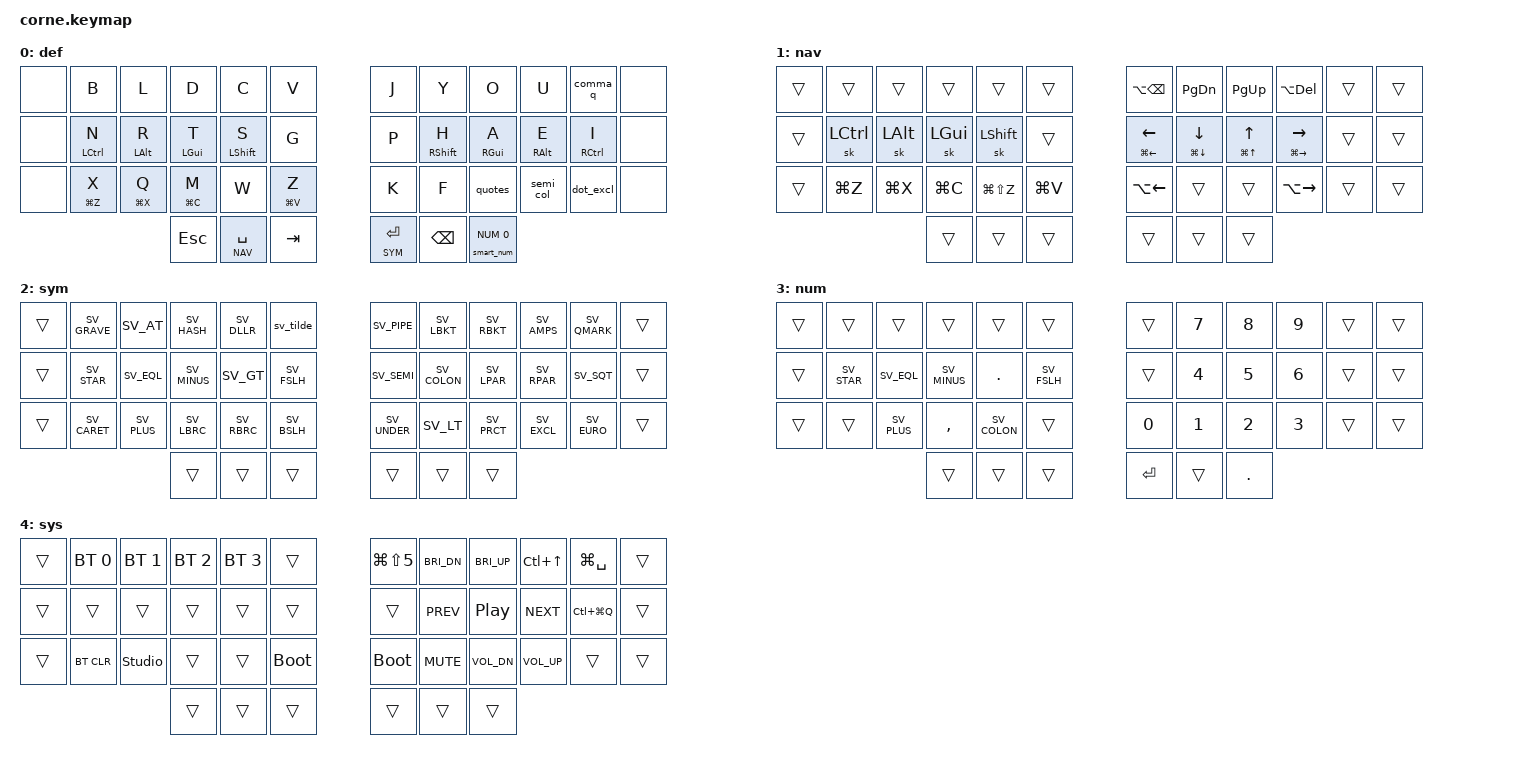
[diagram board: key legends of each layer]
#include <behaviors.dtsi>
#include <behaviors/num_word.dtsi> // requires auto-layer module
#include <dt-bindings/zmk/keys.h>
#include <dt-bindings/zmk/bt.h>

#include "zmk-helpers/helper.h"
#include "zmk-helpers/key-labels/42.h"
#include "keys_sv_mac.h"  // OS input source: macOS "Swedish - Pro"

// To flash new firmware:
// 1. push to GH action
// 2. download firmware and unzip
// 3. plug in one keyboard half at a time
// 4. Put it in bootloader mode (double click reset-button)
// 5. drag firmware to attached keyboard-"drive"
// 6. In ZMK Studio: "Restore stock settings", otherwise saved Studio edits override this file

#define DEF 0  // layer shortcuts, must match order in which they are defined below
#define NAV 1
#define SYM 2
#define NUM 3
#define SYS 4

#define XXX &none
#define ___ &trans

/* Global settings */

#define QUICK_TAP_MS 175

&sk {  // sticky-key config
    release-after-ms = <900>;  // release after 0.9s
    quick-release;             // no double capitalization when rolling keys
};

&sl {  // sticky-layer config
    ignore-modifiers;          // allow chording sticky mods & layers
};

&lt {  // layer-tap config
    flavor = "balanced";
    tapping-term-ms = <200>;
    quick-tap-ms = <QUICK_TAP_MS>;
};

&caps_word {  // keep caps-word going through Swedish _ and -
    continue-list = <SV_UNDER SV_MINUS BSPC DEL>;
};

&num_word {  // Swedish codes; = / ( ) are shifted number keys and continue anyway
    continue-list = <BSPC DEL DOT COMMA SV_PLUS SV_MINUS SV_STAR>;
};

/* Homerow mods */

#define KEYS_L LT0 LT1 LT2 LT3 LT4 LM0 LM1 LM2 LM3 LM4 LB0 LB1 LB2 LB3 LB4  // left hand
#define KEYS_R RT0 RT1 RT2 RT3 RT4 RM0 RM1 RM2 RM3 RM4 RB0 RB1 RB2 RB3 RB4  // right hand
#define THUMBS LH2 LH1 LH0 RH0 RH1 RH2                                      // thumbs

#define MAKE_HRM(NAME, HOLD, TAP, TRIGGER_POS) \
    ZMK_HOLD_TAP(NAME, \
        flavor = "balanced"; \
        tapping-term-ms = <280>; \
        quick-tap-ms = <QUICK_TAP_MS>; \
        require-prior-idle-ms = <150>; \
        bindings = <HOLD>, <TAP>; \
        hold-trigger-key-positions = <TRIGGER_POS>; \
        hold-trigger-on-release; \
    )
MAKE_HRM(hml, &kp, &kp, KEYS_R THUMBS)  // left-hand HRMs
MAKE_HRM(hmr, &kp, &kp, KEYS_L THUMBS)  // right-hand HRMs

/* Nav cluster (macOS) */

// long-tap action on hold, short-tap action on all interrupts
&mt {
    flavor = "tap-preferred";
    tapping-term-ms = <220>;
    quick-tap-ms = <220>;
    hold-trigger-key-positions = <0>;
};

#define NAV_LEFT  &mt LG(LEFT)  LEFT   // tap: left  | long-tap: beginning of line
#define NAV_RIGHT &mt LG(RIGHT) RIGHT  // tap: right | long-tap: end       of line
#define NAV_UP    &mt LG(UP)    UP     // tap: up    | long-tap: beginning of document
#define NAV_DOWN  &mt LG(DOWN)  DOWN   // tap: down  | long-tap: end       of document
#define WORD_L    &kp LA(LEFT)         // previous word
#define WORD_R    &kp LA(RIGHT)        // next word
#define DEL_WORD  &kp LA(BSPC)         // delete word backward
#define DEL_WORDF &kp LA(DEL)          // delete word forward

/* Clipboard (macOS) */

#define UNDO  &kp LG(Z)
#define CUT   &kp LG(X)
#define COPY  &kp LG(C)
#define PASTE &kp LG(V)
#define REDO  &kp LG(LS(Z))

/* Num-word */

// tap: num-word | double-tap: sticky num-layer | hold: num-layer
#define SMART_NUM &smart_num NUM 0
ZMK_HOLD_TAP(smart_num,
    flavor = "balanced";
    tapping-term-ms = <200>;
    quick-tap-ms = <QUICK_TAP_MS>;
    bindings = <&mo>, <&num_dance>;
)
ZMK_TAP_DANCE(num_dance,
    tapping-term-ms = <200>;
    bindings = <&num_word NUM>, <&sl NUM>;  // reverse this for sticky-num on single tap
)

/* Punctuation with custom shift */

#define SIMPLE_MORPH(NAME, MOD, BINDING1, BINDING2) \
    ZMK_MOD_MORPH(NAME, \
        mods = <(MOD_L ## MOD|MOD_R ## MOD)>; \
        bindings = <BINDING1>, <BINDING2>; \
    )

SIMPLE_MORPH(comma_q,   SFT, &kp COMMA,   &kp SV_QMARK)  // ,  shift: ?
SIMPLE_MORPH(dot_excl,  SFT, &kp DOT,     &kp SV_EXCL)   // .  shift: !
SIMPLE_MORPH(semi_col,  SFT, &kp SV_SEMI, &kp SV_COLON)  // ;  shift: :
SIMPLE_MORPH(quotes,    SFT, &kp SV_SQT,  &kp SV_DQT)    // '  shift: "

// ~ is a dead key on Swedish - Pro, so send it followed by space
ZMK_MACRO(sv_tilde,
    wait-ms = <0>;
    tap-ms = <10>;
    bindings = <&macro_tap &kp SV_TILDE_DEAD &kp SPACE>;
)

/* macOS function-row actions */

#define MISSION   &kp LC(UP)          // Mission Control
#define SPOTLIGHT &kp LG(SPACE)
#define SCRNSHOT  &kp LG(LS(N5))      // screenshot / recording tool
#define LOCK      &kp LC(LG(Q))       // lock screen

/* Combos: å ä ö (vertical pairs, right hand) and caps-word */

ZMK_COMBO(ao,       &kp SV_AO,  RT2 RM2, DEF)  // o + a       -> å
ZMK_COMBO(ae,       &kp SV_AE,  RM2 RB2, DEF)  // a + '       -> ä
ZMK_COMBO(oe,       &kp SV_OE,  RM3 RB3, DEF)  // e + ;       -> ö
ZMK_COMBO(capsword, &caps_word, LM0 RM0, DEF)  // g + p       -> caps word

/* Holding Nav (Space) + Sym (Enter) together opens the system layer */

ZMK_CONDITIONAL_LAYER(sys, NAV SYM, SYS)

/* Layers - Gallium */

ZMK_LAYER(def,
// ╭─────────────┬─────────────┬─────────────┬─────────────┬─────────────┬─────────────╮   ╭─────────────┬─────────────┬─────────────┬─────────────┬─────────────┬─────────────╮
         XXX          &kp B         &kp L         &kp D         &kp C         &kp V             &kp J         &kp Y         &kp O         &kp U        &comma_q         XXX
// ├─────────────┼─────────────┼─────────────┼─────────────┼─────────────┼─────────────┤   ├─────────────┼─────────────┼─────────────┼─────────────┼─────────────┼─────────────┤
         XXX      &hml LCTRL N   &hml LALT R   &hml LGUI T   &hml LSHFT S     &kp G             &kp P     &hmr RSHFT H   &hmr RGUI A   &hmr RALT E   &hmr RCTRL I       XXX
// ├─────────────┼─────────────┼─────────────┼─────────────┼─────────────┼─────────────┤   ├─────────────┼─────────────┼─────────────┼─────────────┼─────────────┼─────────────┤
         XXX       &mt LG(Z) X   &mt LG(X) Q   &mt LG(C) M      &kp W      &mt LG(V) Z          &kp K         &kp F        &quotes      &semi_col     &dot_excl        XXX
// ╰─────────────┼─────────────┼─────────────┼─────────────┼─────────────┤─────────────┤   ├─────────────┼─────────────┼─────────────┴─────────────┴─────────────┴─────────────╯
                                                &kp ESC     &lt NAV SPACE    &kp TAB         &lt SYM RET     &kp BSPC      SMART_NUM
//                                           ╰─────────────┴──── ────────┴─────────────╯   ╰─────────────┴─────────────┴─────────────╯
)

ZMK_LAYER(nav,
// ╭─────────────┬─────────────┬─────────────┬─────────────┬─────────────┬─────────────╮   ╭─────────────┬─────────────┬─────────────┬─────────────┬─────────────┬─────────────╮
        ___           ___           ___           ___           ___           ___           DEL_WORD      &kp PG_DN     &kp PG_UP     DEL_WORDF        ___           ___
// ├─────────────┼─────────────┼─────────────┼─────────────┼─────────────┼─────────────┤   ├─────────────┼─────────────┼─────────────┼─────────────┼─────────────┼─────────────┤
        ___        &sk LCTRL      &sk LALT      &sk LGUI     &sk LSHFT        ___           NAV_LEFT      NAV_DOWN       NAV_UP      NAV_RIGHT        ___           ___
// ├─────────────┼─────────────┼─────────────┼─────────────┼─────────────┼─────────────┤   ├─────────────┼─────────────┼─────────────┼─────────────┼─────────────┼─────────────┤
        ___           UNDO          CUT           COPY          REDO         PASTE           WORD_L         ___           ___          WORD_R         ___           ___
// ╰─────────────┼─────────────┼─────────────┼─────────────┼─────────────┤─────────────┤   ├─────────────┼─────────────┼─────────────┴─────────────┴─────────────┴─────────────╯
                                                  ___           ___           ___             ___           ___           ___
//                                           ╰─────────────┴──── ────────┴─────────────╯   ╰─────────────┴─────────────┴─────────────╯
)

ZMK_LAYER(sym,
// ╭─────────────┬─────────────┬─────────────┬─────────────┬─────────────┬─────────────╮   ╭─────────────┬─────────────┬─────────────┬─────────────┬─────────────┬─────────────╮
        ___       &kp SV_GRAVE   &kp SV_AT    &kp SV_HASH   &kp SV_DLLR    &sv_tilde      &kp SV_PIPE   &kp SV_LBKT   &kp SV_RBKT   &kp SV_AMPS   &kp SV_QMARK      ___
// ├─────────────┼─────────────┼─────────────┼─────────────┼─────────────┼─────────────┤   ├─────────────┼─────────────┼─────────────┼─────────────┼─────────────┼─────────────┤
        ___       &kp SV_STAR    &kp SV_EQL   &kp SV_MINUS   &kp SV_GT    &kp SV_FSLH     &kp SV_SEMI   &kp SV_COLON  &kp SV_LPAR   &kp SV_RPAR    &kp SV_SQT       ___
// ├─────────────┼─────────────┼─────────────┼─────────────┼─────────────┼─────────────┤   ├─────────────┼─────────────┼─────────────┼─────────────┼─────────────┼─────────────┤
        ___       &kp SV_CARET  &kp SV_PLUS   &kp SV_LBRC   &kp SV_RBRC   &kp SV_BSLH     &kp SV_UNDER   &kp SV_LT    &kp SV_PRCT   &kp SV_EXCL   &kp SV_EURO       ___
// ╰─────────────┼─────────────┼─────────────┼─────────────┼─────────────┤─────────────┤   ├─────────────┼─────────────┼─────────────┴─────────────┴─────────────┴─────────────╯
                                                  ___           ___           ___             ___           ___           ___
//                                           ╰─────────────┴──── ────────┴─────────────╯   ╰─────────────┴─────────────┴─────────────╯
)

ZMK_LAYER(num,
// ╭─────────────┬─────────────┬─────────────┬─────────────┬─────────────┬─────────────╮   ╭─────────────┬─────────────┬─────────────┬─────────────┬─────────────┬─────────────╮
        ___           ___           ___           ___           ___           ___             ___          &kp N7        &kp N8        &kp N9         ___           ___
// ├─────────────┼─────────────┼─────────────┼─────────────┼─────────────┼─────────────┤   ├─────────────┼─────────────┼─────────────┼─────────────┼─────────────┼─────────────┤
        ___       &kp SV_STAR    &kp SV_EQL   &kp SV_MINUS    &kp DOT     &kp SV_FSLH         ___          &kp N4        &kp N5        &kp N6         ___           ___
// ├─────────────┼─────────────┼─────────────┼─────────────┼─────────────┼─────────────┤   ├─────────────┼─────────────┼─────────────┼─────────────┼─────────────┼─────────────┤
        ___           ___       &kp SV_PLUS    &kp COMMA    &kp SV_COLON      ___            &kp N0        &kp N1        &kp N2        &kp N3         ___           ___
// ╰─────────────┼─────────────┼─────────────┼─────────────┼─────────────┤─────────────┤   ├─────────────┼─────────────┼─────────────┴─────────────┴─────────────┴─────────────╯
                                                  ___           ___           ___           &kp RET         ___         &kp DOT
//                                           ╰─────────────┴──── ────────┴─────────────╯   ╰─────────────┴─────────────┴─────────────╯
)

ZMK_LAYER(sys,
// ╭─────────────┬─────────────┬─────────────┬─────────────┬─────────────┬─────────────╮   ╭─────────────┬─────────────┬─────────────┬─────────────┬─────────────┬─────────────╮
         ___      &bt BT_SEL 0  &bt BT_SEL 1  &bt BT_SEL 2  &bt BT_SEL 3       ___              SCRNSHOT    &kp C_BRI_DN  &kp C_BRI_UP     MISSION      SPOTLIGHT        ___
// ├─────────────┼─────────────┼─────────────┼─────────────┼─────────────┼─────────────┤   ├─────────────┼─────────────┼─────────────┼─────────────┼─────────────┼─────────────┤
         ___           ___           ___           ___           ___           ___               ___        &kp C_PREV     &kp C_PP     &kp C_NEXT       LOCK           ___
// ├─────────────┼─────────────┼─────────────┼─────────────┼─────────────┼─────────────┤   ├─────────────┼─────────────┼─────────────┼─────────────┼─────────────┼─────────────┤
         ___       &bt BT_CLR   &studio_unlock     ___           ___       &bootloader         &bootloader  &kp C_MUTE  &kp C_VOL_DN  &kp C_VOL_UP       ___           ___
// ╰─────────────┼─────────────┼─────────────┼─────────────┼─────────────┤─────────────┤   ├─────────────┼─────────────┼─────────────┴─────────────┴─────────────┴─────────────╯
                                                   ___           ___           ___               ___           ___           ___
//                                           ╰─────────────┴──── ────────┴─────────────╯   ╰─────────────┴─────────────┴─────────────╯
)
